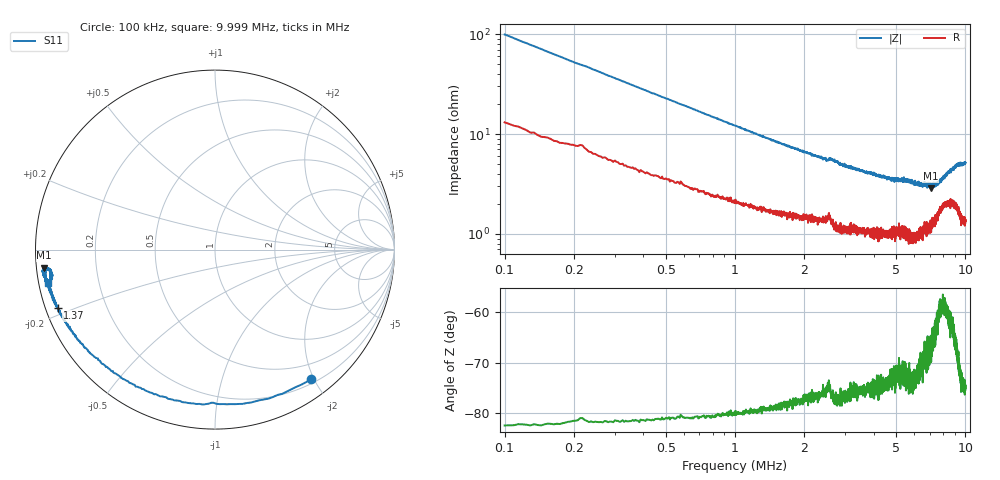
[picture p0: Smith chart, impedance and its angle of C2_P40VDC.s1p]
# HZ S RI R 50
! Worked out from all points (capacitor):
!   2020 points, 100 kHz to 9.999 MHz, reference 50 ohm
!   read as one part to ground: C = 15.1 nF near 149 kHz
!   lowest |Z| = 2.86 ohm at 7.067 MHz (marker M1)
!   S11 on the Smith chart (normalised r, x): 100 kHz: 0.26, -1.97; 1.37 MHz: 0.03, -0.18; 9.999 MHz: 0.03, -0.10
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100000  0.5375 -0.7206
134321  0.3488 -0.8096
158836  0.2232 -0.8458
188254  0.0878 -0.8608
237284  -0.0859 -0.8598
286314  -0.2361 -0.8359
325538  -0.3298 -0.8046
369665  -0.4149 -0.7697
418695  -0.4919 -0.7307
472628  -0.5597 -0.6887
614815  -0.6765 -0.5927
786420  -0.7674 -0.5009
1031570  -0.8304 -0.4096
1340459  -0.8741 -0.3304
1369877  -0.8772 -0.3241
1629736  -0.8967 -0.2831
1982752  -0.9082 -0.2416
2576015  -0.9221 -0.2022
2870195  -0.9325 -0.1821
3816474  -0.9469 -0.1525
5052030  -0.951 -0.1258
6287586  -0.9547 -0.1152
7067163  -0.9516 -0.1009
7528045  -0.9384 -0.107
8013442  -0.9169 -0.1195
8763601  -0.9134 -0.1442
9445118  -0.9255 -0.1719
9999157  -0.931 -0.1878
